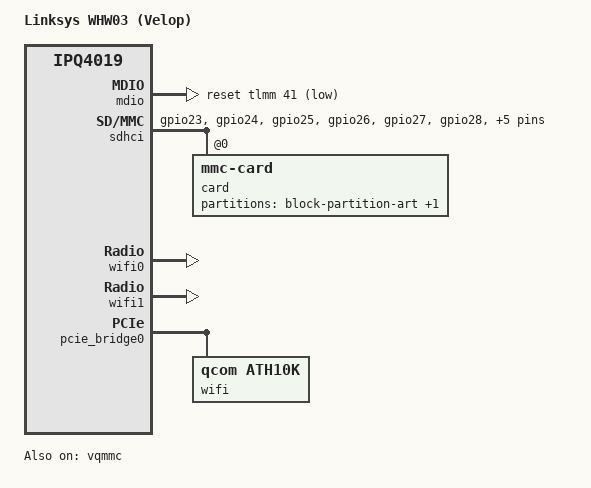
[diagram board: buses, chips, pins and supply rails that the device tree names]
// SPDX-License-Identifier: GPL-2.0-or-later OR MIT

#include "qcom-ipq4019-whw03.dtsi"

/ {
	model = "Linksys WHW03 (Velop)";
	compatible = "linksys,whw03", "qcom,ipq4019";

	// Default bootargs include rootfstype=ext4 and need to be overriden.
	chosen {
		bootargs-append = " rootfstype=squashfs";
	};
};

&tlmm {
	sd_pins: sd-pinmux {
		pins = "gpio23", "gpio24", "gpio25", "gpio26",
			"gpio27", "gpio28", "gpio29", "gpio30",
			"gpio31", "gpio32";
		function = "sdio";
	};

	i2c_0_pins: i2c-0-pinmux {
		pins = "gpio58", "gpio59";
		function = "blsp_i2c0";
		bias-disable;
	};

	spi_0_pins: spi-0-pinmux {
		pins = "gpio12", "gpio13", "gpio14", "gpio15";
		function = "blsp_spi0";
		bias-disable;
	};
};

&mdio {
	status = "okay";
	pinctrl-0 = <&mdio_pins>;
	pinctrl-names = "default";

	reset-gpios = <&tlmm 41 GPIO_ACTIVE_LOW>;
};

&vqmmc {
	status = "okay";
};

&sdhci {
	status = "okay";
	pinctrl-0 = <&sd_pins>;
	pinctrl-names = "default";

	cd-gpios = <&tlmm 22 GPIO_ACTIVE_LOW>;
	sd-ldo-gpios = <&tlmm 33 GPIO_ACTIVE_LOW>;

	vqmmc-supply = <&vqmmc>;

	card@0 {
		compatible = "mmc-card";
		reg = <0>;

		block {
			compatible = "block-device";
			partitions {
				block-partition-art {
					partname = "art";

					nvmem-layout {
						compatible = "fixed-layout";
						#address-cells = <1>;
						#size-cells = <1>;

						precal_art_1000: pre-calibration@1000 {
							reg = <0x1000 0x2f20>;
						};

						precal_art_5000: pre-calibration@5000 {
							reg = <0x5000 0x2f20>;
						};

						precal_art_9000: pre-calibration@9000 {
							reg = <0x9000 0x2f20>;
						};
					};
				};

				block-partition-devinfo {
					partname = "devinfo";

					nvmem-layout {
						compatible = "ascii-eq-delim-env";
						#address-cells = <1>;
						#size-cells = <1>;

						hw_mac_addr: hw_mac_addr {
							compatible = "mac-base";
							#nvmem-cell-cells = <1>;
						};
					};
				};
			};
		};
	};
};

&gmac {
	nvmem-cells = <&hw_mac_addr 0>;
	nvmem-cell-names = "mac-address";
};

&wifi0 {
	qcom,ath10k-calibration-variant = "linksys-whw03";

	nvmem-cells = <&precal_art_1000>, <&hw_mac_addr 1>;
	nvmem-cell-names = "pre-calibration", "mac-address";
};

&wifi1 {
	qcom,ath10k-calibration-variant = "linksys-whw03";

	nvmem-cells = <&precal_art_5000>, <&hw_mac_addr 2>;
	nvmem-cell-names = "pre-calibration", "mac-address";
};

&pcie_bridge0 {
	wifi@0,0 {
		compatible = "qcom,ath10k";
		reg = <0x00010000 0 0 0 0>;
		ieee80211-freq-limit = <5490000 5835000>;
		qcom,ath10k-calibration-variant = "linksys-whw03";
		nvmem-cells = <&precal_art_9000>, <&hw_mac_addr 3>;
		nvmem-cell-names = "pre-calibration", "mac-address";
	};
};
